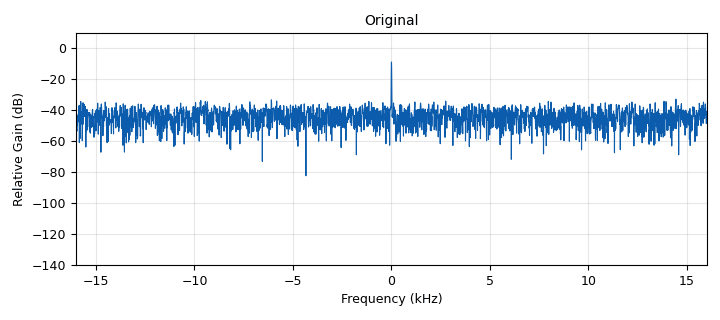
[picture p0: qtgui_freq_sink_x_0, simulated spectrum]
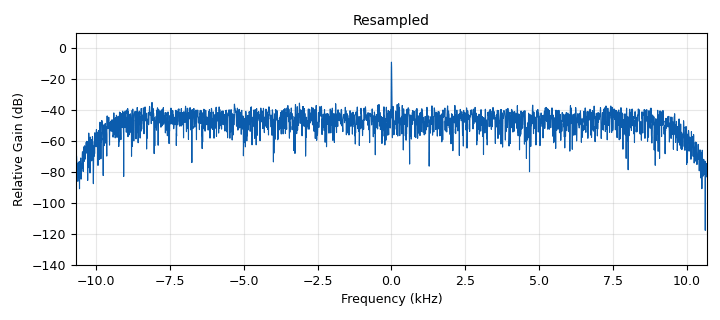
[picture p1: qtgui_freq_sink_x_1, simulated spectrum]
<?xml version='1.0' encoding='utf-8'?>
<?grc format='1' created='3.7.10'?>
<flow_graph>
<block>
<key>options</key>
<param><key>id</key><value>ratio_resamp</value></param>
<param><key>generate_options</key><value>qt_gui</value></param>
</block>
<block>
<key>variable</key>
<param><key>id</key><value>decim</value></param>
<param><key>value</key><value>2</value></param>
</block>
<block>
<key>variable_qtgui_range</key>
<param><key>id</key><value>freq</value></param>
<param><key>value</key><value>0</value></param>
<param><key>orient</key><value>Qt.Horizontal</value></param>
<param><key>start</key><value>-samp_rate/2</value></param>
<param><key>step</key><value>1</value></param>
<param><key>stop</key><value>samp_rate/2</value></param>
</block>
<block>
<key>variable</key>
<param><key>id</key><value>samp_rate</value></param>
<param><key>value</key><value>32000</value></param>
</block>
<block>
<key>analog_noise_source_x</key>
<param><key>id</key><value>analog_noise_source_x_0</value></param>
<param><key>amp</key><value>1</value></param>
<param><key>noise_type</key><value>analog.GR_GAUSSIAN</value></param>
<param><key>type</key><value>complex</value></param>
<param><key>seed</key><value>0</value></param>
</block>
<block>
<key>analog_sig_source_x</key>
<param><key>id</key><value>analog_sig_source_x_0</value></param>
<param><key>amp</key><value>1</value></param>
<param><key>freq</key><value>freq</value></param>
<param><key>offset</key><value>0</value></param>
<param><key>type</key><value>complex</value></param>
<param><key>samp_rate</key><value>samp_rate</value></param>
<param><key>waveform</key><value>analog.GR_COS_WAVE</value></param>
</block>
<block>
<key>blocks_add_xx</key>
<param><key>id</key><value>blocks_add_xx_0</value></param>
<param><key>type</key><value>complex</value></param>
</block>
<block>
<key>blocks_throttle</key>
<param><key>id</key><value>blocks_throttle_0</value></param>
<param><key>samples_per_second</key><value>samp_rate</value></param>
<param><key>type</key><value>complex</value></param>
</block>
<block>
<key>qtgui_freq_sink_x</key>
<param><key>id</key><value>qtgui_freq_sink_x_0</value></param>
<param><key>bw</key><value>samp_rate</value></param>
<param><key>fc</key><value>0</value></param>
<param><key>fftsize</key><value>4096</value></param>
<param><key>name</key><value>Original</value></param>
<param><key>showports</key><value>True</value></param>
<param><key>type</key><value>complex</value></param>
<param><key>wintype</key><value>firdes.WIN_BLACKMAN_hARRIS</value></param>
</block>
<block>
<key>qtgui_freq_sink_x</key>
<param><key>id</key><value>qtgui_freq_sink_x_1</value></param>
<param><key>bw</key><value>samp_rate/1.5</value></param>
<param><key>fc</key><value>0</value></param>
<param><key>fftsize</key><value>4096</value></param>
<param><key>name</key><value>Resampled</value></param>
<param><key>showports</key><value>True</value></param>
<param><key>type</key><value>complex</value></param>
<param><key>wintype</key><value>firdes.WIN_BLACKMAN_hARRIS</value></param>
</block>
<block>
<key>rational_resampler_xxx</key>
<param><key>id</key><value>rational_resampler_xxx_0</value></param>
<param><key>decim</key><value>3</value></param>
<param><key>interp</key><value>2</value></param>
<param><key>taps</key><value></value></param>
<param><key>type</key><value>ccc</value></param>
</block>
<connection><source_block_id>analog_noise_source_x_0</source_block_id><sink_block_id>blocks_add_xx_0</sink_block_id><source_key>0</source_key><sink_key>0</sink_key></connection>
<connection><source_block_id>analog_sig_source_x_0</source_block_id><sink_block_id>blocks_add_xx_0</sink_block_id><source_key>0</source_key><sink_key>1</sink_key></connection>
<connection><source_block_id>blocks_add_xx_0</source_block_id><sink_block_id>blocks_throttle_0</sink_block_id><source_key>0</source_key><sink_key>0</sink_key></connection>
<connection><source_block_id>blocks_throttle_0</source_block_id><sink_block_id>qtgui_freq_sink_x_0</sink_block_id><source_key>0</source_key><sink_key>0</sink_key></connection>
<connection><source_block_id>blocks_throttle_0</source_block_id><sink_block_id>rational_resampler_xxx_0</sink_block_id><source_key>0</source_key><sink_key>0</sink_key></connection>
<connection><source_block_id>rational_resampler_xxx_0</source_block_id><sink_block_id>qtgui_freq_sink_x_1</sink_block_id><source_key>0</source_key><sink_key>0</sink_key></connection>
</flow_graph>
